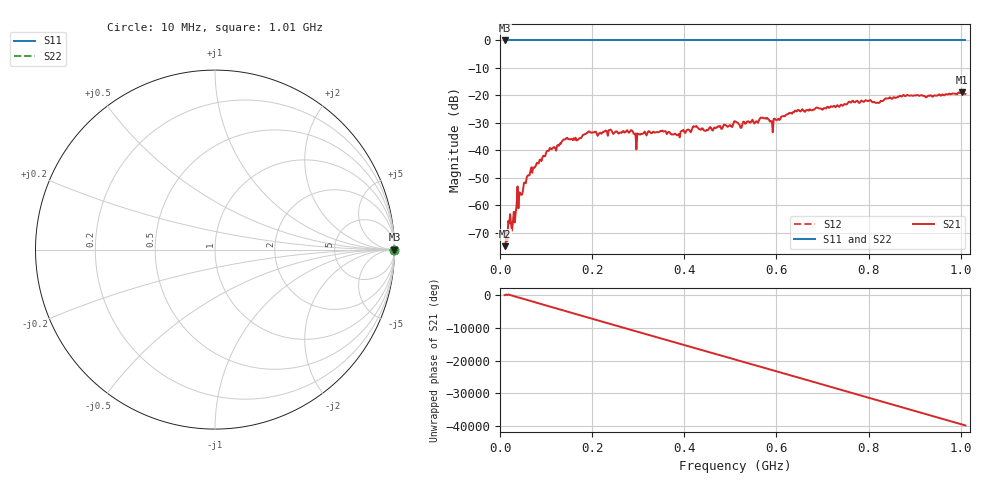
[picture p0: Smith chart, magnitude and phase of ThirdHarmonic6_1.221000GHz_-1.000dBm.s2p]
! 8/16/2025 12:48:55 PM
! C:\ANRITSUVNA\TEMP\TEMP.S2P
! CHANNEL.1
! TR.MEASUREMENT
! RAW.DATA
! RF.CORRECTION.OFF
! AVERAGING.OFF
! IF.BANDWIDTH: 5KHZ
! SWEEPTYPE:  FREQ.SWEEP(Linear)
! Reference Plane Port Info
! PORT:  PORT1  PORT2
! DISTANCE:  0  m  0  m
! TIME:  0  s  0  s
! PHASE.OFFSET:  0  deg.  0  deg.
! LOSS:  0  dB  0  dB
! REF.LOSS:  0  dB  0  dB
! REF.FREQ:  0  Hz  0  Hz
! Power Info
! POWER:  -20  dBm  -20  dBm
! EFF.POWER:  -20  dBm  -20  dBm
! SOURCE.ATTEN:  0  dB  0  dB
! TEST.ATTEN:  0  dB  0  dB
# GHZ S RI R 50.0
! FREQ.GHZ  S11RE  S11IM  S21RE  S21IM  S12RE  S12IM  S22RE  S22IM
!; PortSelection: Port_12
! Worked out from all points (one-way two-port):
!   501 points, 10 MHz to 1.01 GHz, reference 50 ohm
!   highest |S21| = -18.87 dB at 1.002 GHz (marker M1); lowest = -74.9 dB at 10 MHz (marker M2)
!   lowest |S11| = 0.0 dB at 10 MHz (marker M3)
!   |S11| at or under -10 dB: nowhere
!   |S22| runs from 0.0 to 0.0 dB; largest |S21 - S12| = 1.1
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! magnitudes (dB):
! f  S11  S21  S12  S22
! 10 MHz  0.0  -74.9  0.0  0.0
! 18 MHz  0.0  -65.7  0.0  0.0
! 30 MHz  0.0  -62.4  0.0  0.0
! 40 MHz  0.0  -61.1  0.0  0.0
! 64 MHz  0.0  -49.1  0.0  0.0
! 106 MHz  0.0  -40.2  0.0  0.0
! 142 MHz  0.0  -36.0  0.0  0.0
! 178 MHz  0.0  -35.0  0.0  0.0
! 240 MHz  0.0  -32.5  0.0  0.0
! 344 MHz  0.0  -33.4  0.0  0.0
! 386 MHz  0.0  -34.4  0.0  0.0
! 422 MHz  0.0  -31.4  0.0  0.0
! 448 MHz  0.0  -32.6  0.0  0.0
! 510 MHz  0.0  -29.4  0.0  0.0
! 522 MHz  0.0  -31.8  0.0  0.0
! 570 MHz  0.0  -28.1  0.0  0.0
! 588 MHz  0.0  -29.4  0.0  0.0
! 644 MHz  0.0  -25.8  0.0  0.0
! 678 MHz  0.0  -25.4  0.0  0.0
! 844 MHz  0.0  -21.0  0.0  0.0
! 1.002 GHz  0.0  -18.9  0.0  0.0
! 1.01 GHz  0.0  -19.5  0.0  0.0
